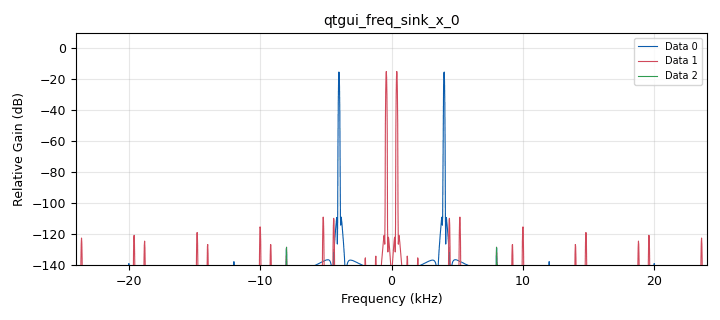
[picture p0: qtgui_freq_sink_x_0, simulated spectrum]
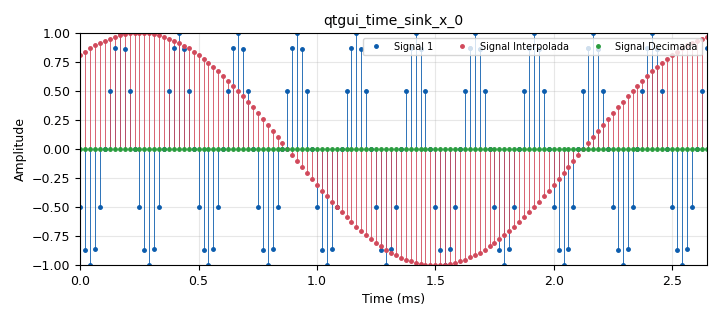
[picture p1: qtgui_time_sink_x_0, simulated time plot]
options:
  parameters:
    author: DiegoEspinel_DiegoGarcia_B1A_G2
    generate_options: qt_gui
    id: Parte_B_Diezmado_Interpolado
    output_language: python
    title: LAB1_ParteB_Punto4
  states: {}

blocks:
- name: F_max
  id: variable_qtgui_range
  parameters:
    label: Frequency_Signal
    start: '1000'
    step: '1000'
    stop: '40000'
    value: '4000'
  states: {}
- name: samp_rate
  id: variable
  parameters:
    value: '48000'
  states: {}
- name: analog_sig_source_x_0
  id: analog_sig_source_x
  parameters:
    amp: '1'
    freq: F_max
    offset: '0'
    phase: '0'
    samp_rate: samp_rate
    type: float
    waveform: analog.GR_COS_WAVE
  states: {}
- name: analog_sig_source_x_1
  id: analog_sig_source_x
  parameters:
    amp: '1'
    freq: F_max
    offset: '0'
    phase: '0'
    samp_rate: samp_rate
    type: float
    waveform: analog.GR_COS_WAVE
  states: {}
- name: analog_sig_source_x_2
  id: analog_sig_source_x
  parameters:
    amp: '1'
    freq: F_max
    offset: '0'
    phase: '0'
    samp_rate: samp_rate
    type: float
    waveform: analog.GR_COS_WAVE
  states: {}
- name: blocks_throttle2_0
  id: blocks_throttle2
  parameters:
    samples_per_second: samp_rate
    type: float
  states: {}
- name: qtgui_freq_sink_x_0
  id: qtgui_freq_sink_x
  parameters:
    average: '0.05'
    bw: samp_rate
    fc: '0'
    fftsize: '2048'
    grid: 'True'
    nconnections: '3'
    type: float
    width1: '2'
    width2: '2'
    width3: '2'
  states: {}
- name: qtgui_time_sink_x_0
  id: qtgui_time_sink_x
  parameters:
    grid: 'True'
    label2: Signal Interpolada
    label3: Signal Decimada
    marker1: '2'
    marker2: '0'
    marker3: '3'
    nconnections: '3'
    size: '128'
    srate: samp_rate
    stemplot: 'True'
    type: float
    width1: '2'
    width2: '2'
    width3: '2'
  states: {}
- name: rational_resampler_xxx_0
  id: rational_resampler_xxx
  parameters:
    decim: '1'
    interp: '1'
    type: fff
  states: {}
- name: rational_resampler_xxx_1
  id: rational_resampler_xxx
  parameters:
    decim: '1'
    interp: '10'
    type: fff
  states: {}
- name: rational_resampler_xxx_2
  id: rational_resampler_xxx
  parameters:
    decim: '10'
    interp: '1'
    type: fff
  states: {}

connections:
- [analog_sig_source_x_0, '0', rational_resampler_xxx_0, '0']
- [analog_sig_source_x_1, '0', rational_resampler_xxx_1, '0']
- [analog_sig_source_x_2, '0', rational_resampler_xxx_2, '0']
- [blocks_throttle2_0, '0', qtgui_freq_sink_x_0, '0']
- [blocks_throttle2_0, '0', qtgui_time_sink_x_0, '0']
- [rational_resampler_xxx_0, '0', blocks_throttle2_0, '0']
- [rational_resampler_xxx_1, '0', qtgui_freq_sink_x_0, '1']
- [rational_resampler_xxx_1, '0', qtgui_time_sink_x_0, '1']
- [rational_resampler_xxx_2, '0', qtgui_freq_sink_x_0, '2']
- [rational_resampler_xxx_2, '0', qtgui_time_sink_x_0, '2']

metadata:
  file_format: 1
  grc_version: 3.10.9.2
